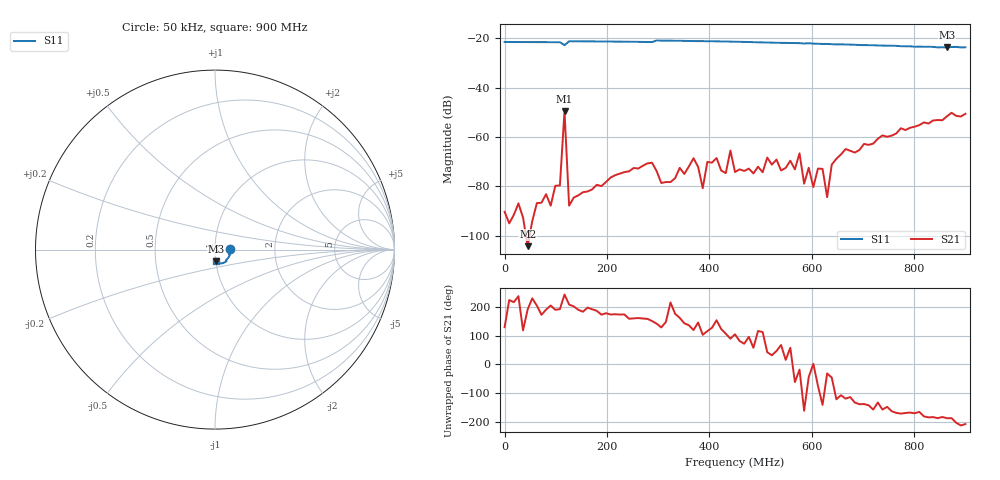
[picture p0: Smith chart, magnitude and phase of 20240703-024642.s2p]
# HZ S RI R 50
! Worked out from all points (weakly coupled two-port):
!   101 points, 50 kHz to 900 MHz, reference 50 ohm
!   highest |S21| = -49.47 dB at 117 MHz (marker M1); lowest = -104.2 dB at 45.05 MHz (marker M2)
!   lowest |S11| = -23.7 dB at 864 MHz (marker M3), VSWR 1.14, Z = 50.3 - j6.59 ohm
!   |S11| at or under -10 dB: start of sweep to end of sweep
!   S12 and S22 are empty: the file has one direction only
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50000  0.085 0.000819  -1.95e-05 2.36e-05  0 0  0 0
4.50475e7  0.0837 -0.0107  -6.02e-06 -1.22e-06  0 0  0 0
1.08044e8  0.08 -0.025  -0.000102 -2.25e-05  0 0  0 0
1.170435e8  0.0727 -0.00797  -0.00152 -0.003  0 0  0 0
1.26043e8  0.0825 -0.03  -3.58e-05 -1.93e-05  0 0  0 0
1.530415e8  0.0797 -0.0357  -7.61e-05 -4.54e-06  0 0  0 0
2.88034e8  0.06 -0.0596  -0.000263 0.000146  0 0  0 0
3.06033e8  0.0625 -0.0652  -7.35e-05 9.13e-05  0 0  0 0
3.690295e8  0.052 -0.0715  -0.000184 0.000324  0 0  0 0
3.870285e8  0.0495 -0.0731  -2.1e-05 8.97e-05  0 0  0 0
3.96028e8  0.0478 -0.0734  -0.000138 0.000282  0 0  0 0
4.32026e8  0.0423 -0.0758  -5.41e-05 0.000178  0 0  0 0
4.410255e8  0.0409 -0.0759  7.66e-07 0.000533  0 0  0 0
4.50025e8  0.0394 -0.0761  -5.01e-05 0.00019  0 0  0 0
5.76018e8  0.024 -0.0766  0.000447 -0.000144  0 0  0 0
5.850175e8  0.0233 -0.0755  -0.000107 -3.75e-05  0 0  0 0
5.94017e8  0.0229 -0.0766  0.000173 -0.000165  0 0  0 0
6.030165e8  0.0217 -0.0755  9.67e-05 4.09e-06  0 0  0 0
6.66013e8  0.0167 -0.0737  -0.000275 -0.000502  0 0  0 0
7.56008e8  0.0115 -0.0702  -0.00102 -0.000327  0 0  0 0
8.64002e8  0.00739 -0.0652  -0.00262 0.000311  0 0  0 0
9e8  0.00519 -0.0659  -0.00264 0.00135  0 0  0 0
